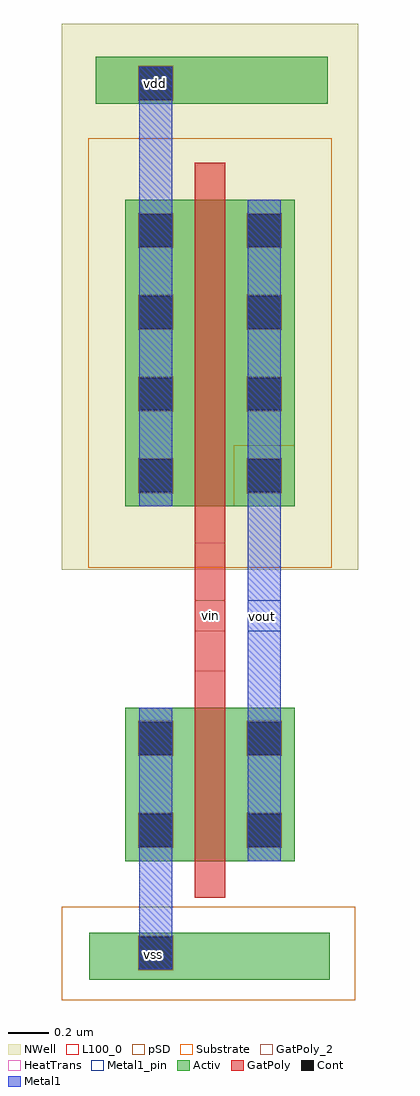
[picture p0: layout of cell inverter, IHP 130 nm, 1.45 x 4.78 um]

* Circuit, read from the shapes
.subckt inverter vdd vin vout vss
XM1 vout vin vss vss sg13_lv_nmos w=0.75u l=0.15u
XM2 vout vin vdd vdd sg13_lv_pmos w=1.5u l=0.15u
.ends

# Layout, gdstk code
import gdstk
lib = gdstk.Library(unit=1e-6, precision=5e-09)
def R(c, l, rs):  # rectangles x0, y0, x1, y1
    for r in rs: c.add(gdstk.rectangle(r[:2], r[2:], *l))
def A(c, l, x, y, w, h, nx, ny, dx, dy):  # array of equal rectangles
    R(c, l, [(x+i*dx, y+j*dy, x+i*dx+w, y+j*dy+h) for i in range(nx) for j in range(ny)])
Activ = (1, 0)
GatPoly = (5, 0)
GatPoly_2 = (5, 2)
Cont = (6, 0)
Metal1 = (8, 0)
Metal1_pin = (8, 2)
pSD = (14, 0)
NWell = (31, 0)
Substrate = (40, 0)
HeatTrans = (51, 0)
L100_0 = (100, 0)

nmos_1_1 = lib.new_cell('nmos$1$1')
R(nmos_1_1, Activ, [(0,0,0.3,0.3), (0,0,0.83,0.75), (0.53,0,0.83,0.3)])
R(nmos_1_1, GatPoly, [(0.34,-0.18,0.49,0.93)])
R(nmos_1_1, GatPoly_2, [(0.34,-0.18,0.49,0.93)])
R(nmos_1_1, Cont, [(0.07,0.07,0.23,0.23), (0.6,0.07,0.76,0.23), (0.07,0.52,0.23,0.68), (0.6,0.52,0.76,0.68)])
R(nmos_1_1, Metal1, [(0.07,0,0.23,0.75), (0.6,0,0.76,0.75)])
R(nmos_1_1, Metal1_pin, [(0.07,0,0.23,0.75), (0.6,0,0.76,0.75)])
R(nmos_1_1, HeatTrans, [(0.34,-0.18,0.49,0.93)])
nmos_1_1.add(gdstk.Label('nmos', (0.415,0.375), layer=63, texttype=0))
nmos_1_1.add(gdstk.Label('nmos', (0.415,0.375), layer=51, texttype=0))

pmos_1_1 = lib.new_cell('pmos$1$1')
R(pmos_1_1, Activ, [(0,0,0.3,0.3), (0,0,0.83,1.5), (0.53,0,0.83,0.3)])
R(pmos_1_1, GatPoly, [(0.34,-0.18,0.49,1.68), (0.34,-0.18,0.49,1.68)])
A(pmos_1_1, Cont, 0.07, 0.07, 0.16, 0.16, 1, 4, 0, 0.4)
A(pmos_1_1, Cont, 0.6, 0.07, 0.16, 0.16, 1, 4, 0, 0.4)
R(pmos_1_1, Metal1, [(0.07,0,0.23,1.5), (0.07,0,0.23,1.5), (0.6,0,0.76,1.5), (0.6,0,0.76,1.5)])
R(pmos_1_1, pSD, [(-0.18,-0.3,1.01,1.8)])
R(pmos_1_1, NWell, [(-0.31,-0.31,1.14,1.81)])
R(pmos_1_1, Substrate, [(0.53,0,0.83,0.3)])
R(pmos_1_1, HeatTrans, [(0.34,-0.18,0.49,1.68)])
pmos_1_1.add(gdstk.Label('pmos', (0.415,0.75), layer=63, texttype=0))
pmos_1_1.add(gdstk.Label('pmos', (0.415,0.75), layer=51, texttype=0))

inverter = lib.new_cell('inverter')
R(inverter, Activ, [(-0.62,-1.585,0.555,-1.355), (-0.59,2.7,0.545,2.93)])
R(inverter, GatPoly, [(-0.105,-0.075,0.045,0.55)])
R(inverter, GatPoly_2, [(-0.105,0.12,0.045,0.27)])
R(inverter, Cont, [(-0.375,-1.535,-0.215,-1.375), (-0.375,2.72,-0.215,2.88)])
R(inverter, Metal1, [(-0.375,-1.535,-0.215,-1.005), (0.155,-0.255,0.315,0.73), (-0.375,2.23,-0.215,2.88)])
R(inverter, Metal1_pin, [(-0.375,-1.535,-0.215,-1.375), (0.155,0.12,0.315,0.27), (-0.375,2.72,-0.215,2.88)])
R(inverter, pSD, [(-0.755,-1.685,0.68,-1.23)])
R(inverter, NWell, [(-0.755,2.54,0.695,3.09)])
R(inverter, L100_0, [(-0.38,-1.54,-0.21,-1.37), (-0.38,-1.54,-0.21,-1.37), (-0.38,-0.94,-0.21,-0.77), (-0.38,-0.94,-0.21,-0.77), (0.15,-0.94,0.32,-0.77), (0.15,-0.94,0.32,-0.77), (-0.38,-0.49,-0.21,-0.32), (-0.38,-0.49,-0.21,-0.32), (0.15,-0.49,0.32,-0.32), (0.15,-0.49,0.32,-0.32), (-0.38,0.795,-0.21,0.965), (-0.38,0.795,-0.21,0.965), (0.15,0.795,0.32,0.965), (0.15,0.795,0.32,0.965), (-0.38,1.195,-0.21,1.365), (-0.38,1.195,-0.21,1.365), (0.15,1.195,0.32,1.365), (0.15,1.195,0.32,1.365), (-0.38,1.595,-0.21,1.765), (-0.38,1.595,-0.21,1.765), (0.15,1.595,0.32,1.765), (0.15,1.595,0.32,1.765), (-0.38,1.995,-0.21,2.165), (-0.38,1.995,-0.21,2.165), (0.15,1.995,0.32,2.165), (0.15,1.995,0.32,2.165), (-0.38,2.715,-0.21,2.885), (-0.38,2.715,-0.21,2.885)])
inverter.add(gdstk.Reference(nmos_1_1, (-0.445,-1.005)))
inverter.add(gdstk.Reference(pmos_1_1, (-0.445,0.73)))
inverter.add(gdstk.Label('vss', (-0.305,-1.46), layer=8, texttype=2))
inverter.add(gdstk.Label('vout', (0.225,0.19), layer=8, texttype=2))
inverter.add(gdstk.Label('vdd', (-0.295,2.8), layer=8, texttype=2))
inverter.add(gdstk.Label('vin', (-0.03,0.195), layer=5, texttype=2))

lib.write_gds('inverter.gds')
